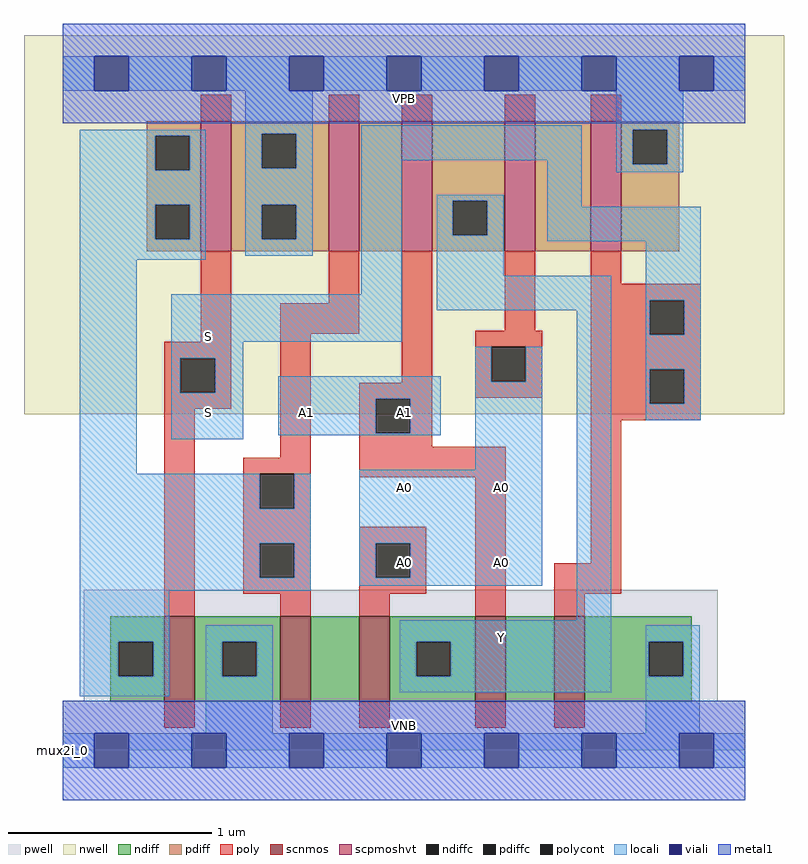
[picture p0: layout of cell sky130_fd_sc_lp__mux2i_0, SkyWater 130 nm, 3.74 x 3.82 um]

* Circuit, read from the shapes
.subckt sky130_fd_sc_lp__mux2i_0 A0 A1 S VGND VNB VPB VPWR Y
XM1 VGND S n1 VNB sky130_fd_pr__nfet_01v8 w=0.42 l=0.15
XM2 n2 n1 VGND VNB sky130_fd_pr__nfet_01v8 w=0.42 l=0.15
XM3 Y A0 n2 VNB sky130_fd_pr__nfet_01v8 w=0.42 l=0.15
XM4 n3 A1 Y VNB sky130_fd_pr__nfet_01v8 w=0.42 l=0.15
XM5 VGND S n3 VNB sky130_fd_pr__nfet_01v8 w=0.42 l=0.15
XM6 VPWR S n1 VPB sky130_fd_pr__pfet_01v8_hvt w=0.64 l=0.15
XM7 n4 n1 VPWR VPB sky130_fd_pr__pfet_01v8_hvt w=0.64 l=0.15
XM8 Y A1 n4 VPB sky130_fd_pr__pfet_01v8_hvt w=0.64 l=0.15
XM9 n5 A0 Y VPB sky130_fd_pr__pfet_01v8_hvt w=0.64 l=0.15
XM10 VPWR S n5 VPB sky130_fd_pr__pfet_01v8_hvt w=0.64 l=0.15
.ends

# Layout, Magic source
magic
tech sky130A
magscale 1 2
<< nwell >>
rect -38 331 710 704
<< pwell >>
rect 21 49 645 158
rect 0 0 672 49
<< scnmos >>
rect 100 48 130 132
rect 214 48 244 132
rect 292 48 322 132
rect 406 48 436 132
rect 484 48 514 132
<< scpmoshvt >>
rect 136 491 166 619
rect 262 491 292 619
rect 334 491 364 619
rect 435 491 465 619
rect 520 491 550 619
<< ndiff >>
rect 47 107 100 132
rect 47 73 55 107
rect 89 73 100 107
rect 47 48 100 73
rect 130 107 214 132
rect 130 73 157 107
rect 191 73 214 107
rect 130 48 214 73
rect 244 48 292 132
rect 322 107 406 132
rect 322 73 348 107
rect 382 73 406 107
rect 322 48 406 73
rect 436 48 484 132
rect 514 107 619 132
rect 514 73 577 107
rect 611 73 619 107
rect 514 48 619 73
<< pdiff >>
rect 83 605 136 619
rect 83 571 91 605
rect 125 571 136 605
rect 83 537 136 571
rect 83 503 91 537
rect 125 503 136 537
rect 83 491 136 503
rect 166 607 262 619
rect 166 573 196 607
rect 230 573 262 607
rect 166 537 262 573
rect 166 503 196 537
rect 230 503 262 537
rect 166 491 262 503
rect 292 491 334 619
rect 364 541 435 619
rect 364 507 384 541
rect 418 507 435 541
rect 364 491 435 507
rect 465 491 520 619
rect 550 611 607 619
rect 550 577 561 611
rect 595 577 607 611
rect 550 491 607 577
<< ndiffc >>
rect 55 73 89 107
rect 157 73 191 107
rect 348 73 382 107
rect 577 73 611 107
<< pdiffc >>
rect 91 571 125 605
rect 91 503 125 537
rect 196 573 230 607
rect 196 503 230 537
rect 384 507 418 541
rect 561 577 595 611
<< poly >>
rect 136 619 166 645
rect 262 619 292 645
rect 334 619 364 645
rect 435 619 465 645
rect 520 619 550 645
rect 136 402 166 491
rect 262 440 292 491
rect 100 386 166 402
rect 100 352 116 386
rect 150 352 166 386
rect 100 336 166 352
rect 214 410 292 440
rect 100 132 130 336
rect 214 288 244 410
rect 334 362 364 491
rect 435 413 465 491
rect 520 459 550 491
rect 520 443 628 459
rect 178 272 244 288
rect 178 238 194 272
rect 228 238 244 272
rect 292 346 364 362
rect 406 397 472 413
rect 406 363 422 397
rect 456 363 472 397
rect 406 347 472 363
rect 520 409 578 443
rect 612 409 628 443
rect 520 375 628 409
rect 292 312 308 346
rect 342 312 364 346
rect 292 299 364 312
rect 520 341 578 375
rect 612 341 628 375
rect 520 325 628 341
rect 292 269 436 299
rect 178 204 244 238
rect 178 170 194 204
rect 228 170 244 204
rect 178 154 244 170
rect 214 132 244 154
rect 292 204 358 220
rect 292 170 308 204
rect 342 170 358 204
rect 292 154 358 170
rect 292 132 322 154
rect 406 132 436 269
rect 520 184 550 325
rect 484 154 550 184
rect 484 132 514 154
rect 100 22 130 48
rect 214 22 244 48
rect 292 22 322 48
rect 406 22 436 48
rect 484 22 514 48
<< polycont >>
rect 116 352 150 386
rect 194 238 228 272
rect 422 363 456 397
rect 578 409 612 443
rect 308 312 342 346
rect 578 341 612 375
rect 194 170 228 204
rect 308 170 342 204
<< locali >>
rect 0 649 31 683
rect 65 649 127 683
rect 161 649 223 683
rect 257 649 319 683
rect 353 649 415 683
rect 449 649 511 683
rect 545 649 607 683
rect 641 649 672 683
rect 17 605 141 611
rect 17 571 91 605
rect 125 571 141 605
rect 17 537 141 571
rect 17 503 91 537
rect 125 503 141 537
rect 17 483 141 503
rect 180 607 246 649
rect 180 573 196 607
rect 230 573 246 607
rect 180 537 246 573
rect 180 503 196 537
rect 230 503 246 537
rect 180 487 246 503
rect 294 581 511 615
rect 17 272 73 483
rect 294 449 334 581
rect 107 402 334 449
rect 368 541 434 547
rect 368 507 384 541
rect 418 507 434 541
rect 368 467 434 507
rect 477 535 511 581
rect 545 611 611 649
rect 545 577 561 611
rect 595 577 611 611
rect 545 569 611 577
rect 477 501 628 535
rect 368 433 540 467
rect 107 386 178 402
rect 107 352 116 386
rect 150 352 178 386
rect 107 306 178 352
rect 212 346 372 368
rect 212 312 308 346
rect 342 312 372 346
rect 212 310 372 312
rect 406 363 422 397
rect 456 363 472 397
rect 406 276 472 363
rect 17 238 194 272
rect 228 238 244 272
rect 17 204 244 238
rect 17 170 194 204
rect 228 170 244 204
rect 17 157 244 170
rect 292 204 472 276
rect 292 170 308 204
rect 342 170 472 204
rect 292 162 472 170
rect 17 107 105 157
rect 506 128 540 433
rect 574 443 628 501
rect 574 409 578 443
rect 612 409 628 443
rect 574 375 628 409
rect 574 341 578 375
rect 612 341 628 375
rect 574 325 628 341
rect 17 73 55 107
rect 89 73 105 107
rect 17 53 105 73
rect 141 107 207 123
rect 141 73 157 107
rect 191 73 207 107
rect 141 17 207 73
rect 332 107 540 128
rect 332 73 348 107
rect 382 73 540 107
rect 332 57 540 73
rect 574 107 627 123
rect 574 73 577 107
rect 611 73 627 107
rect 574 17 627 73
rect 0 -17 31 17
rect 65 -17 127 17
rect 161 -17 223 17
rect 257 -17 319 17
rect 353 -17 415 17
rect 449 -17 511 17
rect 545 -17 607 17
rect 641 -17 672 17
<< viali >>
rect 31 649 65 683
rect 127 649 161 683
rect 223 649 257 683
rect 319 649 353 683
rect 415 649 449 683
rect 511 649 545 683
rect 607 649 641 683
rect 31 -17 65 17
rect 127 -17 161 17
rect 223 -17 257 17
rect 319 -17 353 17
rect 415 -17 449 17
rect 511 -17 545 17
rect 607 -17 641 17
<< metal1 >>
rect 0 683 672 715
rect 0 649 31 683
rect 65 649 127 683
rect 161 649 223 683
rect 257 649 319 683
rect 353 649 415 683
rect 449 649 511 683
rect 545 649 607 683
rect 641 649 672 683
rect 0 617 672 649
rect 0 17 672 49
rect 0 -17 31 17
rect 65 -17 127 17
rect 161 -17 223 17
rect 257 -17 319 17
rect 353 -17 415 17
rect 449 -17 511 17
rect 545 -17 607 17
rect 641 -17 672 17
rect 0 -49 672 -17
<< labels >>
flabel pwell s 0 0 672 49 0 FreeSans 200 0 0 0 VNB
port 5 nsew ground bidirectional
flabel nwell s 0 617 672 666 0 FreeSans 200 0 0 0 VPB
port 6 nsew power bidirectional
rlabel comment s 0 0 0 0 4 mux2i_0
flabel metal1 s 0 617 672 666 0 FreeSans 340 0 0 0 VPWR
port 7 nsew power bidirectional
flabel metal1 s 0 0 672 49 0 FreeSans 340 0 0 0 VGND
port 4 nsew ground bidirectional
flabel locali s 415 94 449 128 0 FreeSans 340 0 0 0 Y
port 8 nsew signal output
flabel locali s 319 168 353 202 0 FreeSans 340 0 0 0 A0
port 1 nsew signal input
flabel locali s 319 242 353 276 0 FreeSans 340 0 0 0 A0
port 1 nsew signal input
flabel locali s 415 168 449 202 0 FreeSans 340 0 0 0 A0
port 1 nsew signal input
flabel locali s 415 242 449 276 0 FreeSans 340 0 0 0 A0
port 1 nsew signal input
flabel locali s 223 316 257 350 0 FreeSans 340 0 0 0 A1
port 2 nsew signal input
flabel locali s 319 316 353 350 0 FreeSans 340 0 0 0 A1
port 2 nsew signal input
flabel locali s 127 316 161 350 0 FreeSans 340 0 0 0 S
port 3 nsew signal input
flabel locali s 127 390 161 424 0 FreeSans 340 0 0 0 S
port 3 nsew signal input
<< properties >>
string LEFsite unit
string LEFclass CORE
string FIXED_BBOX 0 0 672 666
string GDS_FILE $PDKPATH/libs.ref/sky130_fd_sc_lp/gds/sky130_fd_sc_lp.gds
string LEFsymmetry X Y R90
string GDS_END 3869460
string GDS_START 3863320
<< end >>
